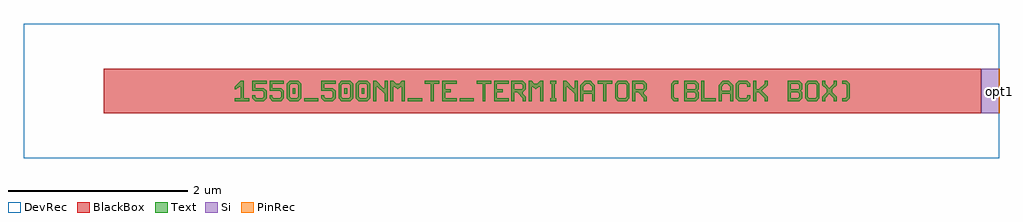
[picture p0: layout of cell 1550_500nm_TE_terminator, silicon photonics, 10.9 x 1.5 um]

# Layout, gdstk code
import gdstk
lib = gdstk.Library(unit=1e-6, precision=1e-09)
def R(c, l, rs):  # rectangles x0, y0, x1, y1
    for r in rs: c.add(gdstk.rectangle(r[:2], r[2:], *l))
def P(c, l, *ps):  # polygons
    for p in ps: c.add(gdstk.Polygon(p, *l))
Si = (1, 0)
PinRec = (1, 10)
Text = (10, 0)
DevRec = (68, 0)
BlackBox = (998, 0)

text = lib.new_cell('TEXT')
R(text, Text, [(0.772,0,0.933,0.032), (1.93,0,2.091,0.032), (2.509,0,2.67,0.032), (0.643,0.08,0.675,0.145), (1.222,0.08,1.254,0.145), (1.415,0.08,1.447,0.145)])
P(text, Text, [(0,0),(0,0.032),(0.064,0.032),(0.064,0.161),(0.048,0.161),(0.016,0.129),(0,0.129),(0,0.161),(0.064,0.225),(0.096,0.225),(0.096,0.032),(0.161,0.032),(0.161,0)],
  [(0.225,0),(0.193,0.032),(0.193,0.064),(0.225,0.064),(0.225,0.048),(0.241,0.032),(0.306,0.032),(0.322,0.048),(0.322,0.096),(0.306,0.113),(0.193,0.113),(0.193,0.225),(0.354,0.225),(0.354,0.193),(0.225,0.193),(0.225,0.145),(0.322,0.145),(0.354,0.113),(0.354,0.032),(0.322,0)],
  [(0.418,0),(0.386,0.032),(0.386,0.064),(0.418,0.064),(0.418,0.048),(0.434,0.032),(0.499,0.032),(0.515,0.048),(0.515,0.096),(0.499,0.113),(0.386,0.113),(0.386,0.225),(0.547,0.225),(0.547,0.193),(0.418,0.193),(0.418,0.145),(0.515,0.145),(0.547,0.113),(0.547,0.032),(0.515,0)],
  [(0.611,0),(0.579,0.032),(0.579,0.193),(0.611,0.225),(0.708,0.225),(0.74,0.193),(0.627,0.193),(0.611,0.177),(0.611,0.048),(0.627,0.032),(0.692,0.032),(0.708,0.048),(0.708,0.177),(0.692,0.193),(0.74,0.193),(0.74,0.032),(0.708,0)],
  [(0.997,0),(0.965,0.032),(0.965,0.064),(0.997,0.064),(0.997,0.048),(1.013,0.032),(1.078,0.032),(1.094,0.048),(1.094,0.096),(1.078,0.113),(0.965,0.113),(0.965,0.225),(1.126,0.225),(1.126,0.193),(0.997,0.193),(0.997,0.145),(1.094,0.145),(1.126,0.113),(1.126,0.032),(1.094,0)],
  [(1.19,0),(1.158,0.032),(1.158,0.193),(1.19,0.225),(1.287,0.225),(1.319,0.193),(1.206,0.193),(1.19,0.177),(1.19,0.048),(1.206,0.032),(1.271,0.032),(1.287,0.048),(1.287,0.177),(1.271,0.193),(1.319,0.193),(1.319,0.032),(1.287,0)],
  [(1.383,0),(1.351,0.032),(1.351,0.193),(1.383,0.225),(1.48,0.225),(1.512,0.193),(1.399,0.193),(1.383,0.177),(1.383,0.048),(1.399,0.032),(1.464,0.032),(1.48,0.048),(1.48,0.177),(1.464,0.193),(1.512,0.193),(1.512,0.032),(1.48,0)],
  [(1.544,0),(1.544,0.225),(1.576,0.225),(1.657,0.145),(1.673,0.145),(1.673,0.225),(1.705,0.225),(1.705,0),(1.673,0),(1.673,0.08),(1.592,0.161),(1.576,0.161),(1.576,0)],
  [(1.737,0),(1.737,0.225),(1.769,0.225),(1.801,0.193),(1.833,0.193),(1.866,0.225),(1.898,0.225),(1.898,0),(1.866,0),(1.866,0.161),(1.85,0.161),(1.817,0.129),(1.785,0.161),(1.769,0.161),(1.769,0)],
  [(2.187,0),(2.187,0.193),(2.123,0.193),(2.123,0.225),(2.284,0.225),(2.284,0.193),(2.219,0.193),(2.219,0)],
  [(2.316,0),(2.316,0.225),(2.477,0.225),(2.477,0.193),(2.348,0.193),(2.348,0.129),(2.412,0.129),(2.412,0.096),(2.348,0.096),(2.348,0.032),(2.477,0.032),(2.477,0)],
  [(2.766,0),(2.766,0.193),(2.702,0.193),(2.702,0.225),(2.863,0.225),(2.863,0.193),(2.798,0.193),(2.798,0)],
  [(2.895,0),(2.895,0.225),(3.056,0.225),(3.056,0.193),(2.927,0.193),(2.927,0.129),(2.991,0.129),(2.991,0.096),(2.927,0.096),(2.927,0.032),(3.056,0.032),(3.056,0)],
  [(3.088,0),(3.088,0.225),(3.217,0.225),(3.249,0.193),(3.12,0.193),(3.12,0.129),(3.201,0.129),(3.217,0.145),(3.217,0.177),(3.201,0.193),(3.249,0.193),(3.249,0.129),(3.217,0.096),(3.217,0.08),(3.249,0.048),(3.249,0),(3.217,0),(3.217,0.032),(3.152,0.096),(3.12,0.096),(3.12,0)],
  [(3.281,0),(3.281,0.225),(3.313,0.225),(3.345,0.193),(3.377,0.193),(3.41,0.225),(3.442,0.225),(3.442,0),(3.41,0),(3.41,0.161),(3.394,0.161),(3.361,0.129),(3.329,0.161),(3.313,0.161),(3.313,0)],
  [(3.522,0),(3.522,0.032),(3.538,0.032),(3.538,0.193),(3.522,0.193),(3.522,0.225),(3.587,0.225),(3.587,0.193),(3.57,0.193),(3.57,0.032),(3.587,0.032),(3.587,0)],
  [(3.667,0),(3.667,0.225),(3.699,0.225),(3.78,0.145),(3.796,0.145),(3.796,0.225),(3.828,0.225),(3.828,0),(3.796,0),(3.796,0.08),(3.715,0.161),(3.699,0.161),(3.699,0)],
  [(3.86,0),(3.86,0.177),(3.908,0.225),(3.973,0.225),(4.005,0.193),(3.924,0.193),(3.892,0.161),(3.892,0.113),(3.989,0.113),(3.989,0.161),(3.956,0.193),(4.005,0.193),(4.021,0.177),(4.021,0),(3.989,0),(3.989,0.08),(3.892,0.08),(3.892,0)],
  [(4.117,0),(4.117,0.193),(4.053,0.193),(4.053,0.225),(4.214,0.225),(4.214,0.193),(4.149,0.193),(4.149,0)],
  [(4.278,0),(4.246,0.032),(4.246,0.193),(4.278,0.225),(4.375,0.225),(4.407,0.193),(4.407,0.113),(4.375,0.113),(4.375,0.177),(4.359,0.193),(4.294,0.193),(4.278,0.177),(4.278,0.048),(4.294,0.032),(4.359,0.032),(4.375,0.048),(4.375,0.113),(4.407,0.113),(4.407,0.032),(4.375,0)],
  [(4.439,0),(4.439,0.225),(4.568,0.225),(4.6,0.193),(4.471,0.193),(4.471,0.129),(4.552,0.129),(4.568,0.145),(4.568,0.177),(4.552,0.193),(4.6,0.193),(4.6,0.129),(4.568,0.096),(4.568,0.08),(4.6,0.048),(4.6,0),(4.568,0),(4.568,0.032),(4.503,0.096),(4.471,0.096),(4.471,0)],
  [(4.905,0),(4.873,0.032),(4.873,0.193),(4.905,0.225),(4.954,0.225),(4.954,0.193),(4.921,0.193),(4.905,0.177),(4.905,0.048),(4.921,0.032),(4.954,0.032),(4.954,0)],
  [(5.018,0),(5.018,0.225),(5.147,0.225),(5.179,0.193),(5.05,0.193),(5.05,0.129),(5.131,0.129),(5.147,0.145),(5.147,0.177),(5.131,0.193),(5.179,0.193),(5.179,0.129),(5.163,0.113),(5.179,0.096),(5.05,0.096),(5.05,0.032),(5.131,0.032),(5.147,0.048),(5.147,0.08),(5.131,0.096),(5.179,0.096),(5.179,0.032),(5.147,0)],
  [(5.211,0),(5.211,0.225),(5.243,0.225),(5.243,0.032),(5.372,0.032),(5.372,0)],
  [(5.404,0),(5.404,0.177),(5.452,0.225),(5.517,0.225),(5.549,0.193),(5.468,0.193),(5.436,0.161),(5.436,0.113),(5.533,0.113),(5.533,0.161),(5.5,0.193),(5.549,0.193),(5.565,0.177),(5.565,0),(5.533,0),(5.533,0.08),(5.436,0.08),(5.436,0)],
  [(5.629,0),(5.597,0.032),(5.597,0.193),(5.629,0.225),(5.726,0.225),(5.758,0.193),(5.758,0.161),(5.726,0.161),(5.726,0.177),(5.71,0.193),(5.645,0.193),(5.629,0.177),(5.629,0.048),(5.645,0.032),(5.71,0.032),(5.726,0.048),(5.726,0.064),(5.758,0.064),(5.758,0.032),(5.726,0)],
  [(5.79,0),(5.79,0.225),(5.822,0.225),(5.822,0.129),(5.854,0.129),(5.919,0.193),(5.919,0.225),(5.951,0.225),(5.951,0.177),(5.886,0.113),(5.951,0.048),(5.951,0),(5.919,0),(5.919,0.032),(5.854,0.096),(5.822,0.096),(5.822,0)],
  [(6.176,0),(6.176,0.225),(6.305,0.225),(6.337,0.193),(6.208,0.193),(6.208,0.129),(6.289,0.129),(6.305,0.145),(6.305,0.177),(6.289,0.193),(6.337,0.193),(6.337,0.129),(6.321,0.113),(6.337,0.096),(6.208,0.096),(6.208,0.032),(6.289,0.032),(6.305,0.048),(6.305,0.08),(6.289,0.096),(6.337,0.096),(6.337,0.032),(6.305,0)],
  [(6.401,0),(6.369,0.032),(6.369,0.193),(6.401,0.225),(6.498,0.225),(6.53,0.193),(6.53,0.113),(6.498,0.113),(6.498,0.177),(6.482,0.193),(6.417,0.193),(6.401,0.177),(6.401,0.048),(6.417,0.032),(6.482,0.032),(6.498,0.048),(6.498,0.113),(6.53,0.113),(6.53,0.032),(6.498,0)],
  [(6.562,0),(6.562,0.048),(6.61,0.096),(6.61,0.129),(6.562,0.177),(6.562,0.225),(6.594,0.225),(6.594,0.193),(6.642,0.145),(6.691,0.193),(6.691,0.225),(6.723,0.225),(6.723,0.177),(6.675,0.129),(6.675,0.096),(6.723,0.048),(6.723,0),(6.691,0),(6.691,0.032),(6.642,0.08),(6.594,0.032),(6.594,0)],
  [(6.787,0),(6.787,0.032),(6.819,0.032),(6.835,0.048),(6.835,0.177),(6.819,0.193),(6.787,0.193),(6.787,0.225),(6.835,0.225),(6.868,0.193),(6.868,0.032),(6.835,0)])

c_1550_500nm_te_terminator = lib.new_cell('1550_500nm_TE_terminator')
R(c_1550_500nm_te_terminator, Si, [(-0.2,-0.25,0,0.25)])
R(c_1550_500nm_te_terminator, DevRec, [(-10.9,-0.75,0,0.75)])
R(c_1550_500nm_te_terminator, BlackBox, [(-10.005,-0.25,-0.2,0.25)])
c_1550_500nm_te_terminator.add(gdstk.FlexPath([(-0.005,0),(0.005,0)], 0.5, ends="flush", simple_path=True, layer=1, datatype=10))  # PinRec
c_1550_500nm_te_terminator.add(gdstk.Reference(text, (-8.537,-0.112)))
c_1550_500nm_te_terminator.add(gdstk.Label('opt1', (0,0), layer=1, texttype=10))

lib.write_gds('1550_500nm_TE_terminator.gds')
